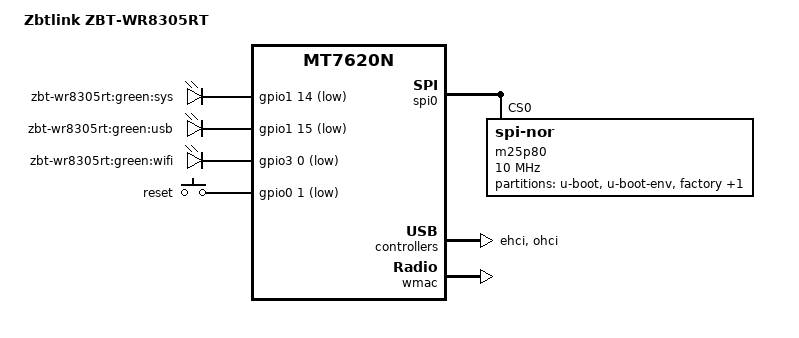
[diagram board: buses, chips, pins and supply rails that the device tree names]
/dts-v1/;

#include "mt7620n.dtsi"

/ {
	compatible = "zbtlink,zbt-wr8305rt", "ralink,mt7620n-soc";
	model = "Zbtlink ZBT-WR8305RT";

	gpio-leds {
		compatible = "gpio-leds";

		sys {
			label = "zbt-wr8305rt:green:sys";
			gpios = <&gpio1 14 1>;
		};

		lan {
			label = "zbt-wr8305rt:green:usb";
			gpios = <&gpio1 15 1>;
		};

		wifi {
			label = "zbt-wr8305rt:green:wifi";
			gpios = <&gpio3 0 1>;
		};
	};

	gpio-keys-polled {
		compatible = "gpio-keys-polled";
		#address-cells = <1>;
		#size-cells = <0>;
		poll-interval = <20>;

		reset {
			label = "reset";
			gpios = <&gpio0 1 1>;
			linux,code = <0x198>;
		};
	};
};

&gpio1 {
	status = "okay";
};

&gpio3 {
	status = "okay";
};

&spi0 {
	status = "okay";

	m25p80@0 {
		#address-cells = <1>;
		#size-cells = <1>;
		compatible = "jedec,spi-nor";
		reg = <0>;
		linux,modalias = "m25p80", "en25q64";
		spi-max-frequency = <10000000>;

		partition@0 {
			label = "u-boot";
			reg = <0x0 0x30000>;
			read-only;
		};

		partition@30000 {
			label = "u-boot-env";
			reg = <0x30000 0x10000>;
			read-only;
		};

		factory: partition@40000 {
			label = "factory";
			reg = <0x40000 0x10000>;
			read-only;
		};

		partition@50000 {
			label = "firmware";
			reg = <0x50000 0x7b0000>;
		};
	};
};

&ehci {
	status = "okay";
};

&ohci {
	status = "okay";
};

&ethernet {
	mtd-mac-address = <&factory 0x4>;
	mediatek,portmap = "llllw";
};

&wmac {
	ralink,mtd-eeprom = <&factory 0>;
};

&pinctrl {
	state_default: pinctrl0 {
		ephy {
			ralink,group = "ephy";
			ralink,function = "ephy";
		};

		default {
			ralink,group = "i2c", "uartf", "spi refclk", "wled";
			ralink,function = "gpio";
		};
	};
};
